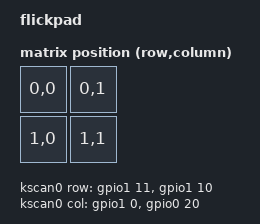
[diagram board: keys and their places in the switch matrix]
/dts-v1/;
#include <nordic/nrf52840_qiaa.dtsi>
#include <dt-bindings/zmk/matrix_transform.h>

/ {
    model = "flickpad";
    compatible = "cqcumbers,flickpad";

    chosen {
        zephyr,code-partition = &code_partition;
        zephyr,sram = &sram0;
        zephyr,flash = &flash0;
        zmk,kscan = &kscan0;
        zmk,physical-layout = &physical_layout0;
    };

    default_transform: keymap_transform_0 {
        compatible = "zmk,matrix-transform";
        columns = <2>;
        rows = <2>;
        map = <
            RC(0,0) RC(0,1)
            RC(1,0) RC(1,1)
        >;
    };

    physical_layout0: physical_layout_0 {
        compatible = "zmk,physical-layout";
        display-name = "Default Layout";
        transform = <&default_transform>;
    };

    kscan0: kscan0 {
        compatible = "zmk,kscan-gpio-matrix";
        diode-direction = "col2row";
        wakeup-source;

         row-gpios
            = <&gpio1 11 (GPIO_ACTIVE_HIGH | GPIO_PULL_DOWN)>
            , <&gpio1 10 (GPIO_ACTIVE_HIGH | GPIO_PULL_DOWN)>
            ;
        col-gpios
            = <&gpio1  0 GPIO_ACTIVE_HIGH>
            , <&gpio0 20 GPIO_ACTIVE_HIGH>
            ;
    };

};

&gpio0 {
    status = "okay";
};

&gpio1 { 
    status = "okay";
};

&flash0 {
    /*
     * For more information, see:
     * http://docs.zephyrproject.org/latest/guides/dts/index.html#flash-partitions
     */
    partitions {
        compatible = "fixed-partitions";
        #address-cells = <1>;
        #size-cells = <1>;

        code_partition: partition@0 {
            reg = <0x00000000 0x000d4000>;
        };

        storage_partition: partition@d4000 {
            reg = <0x000d4000 0x00020000>;
        };
    };
};
